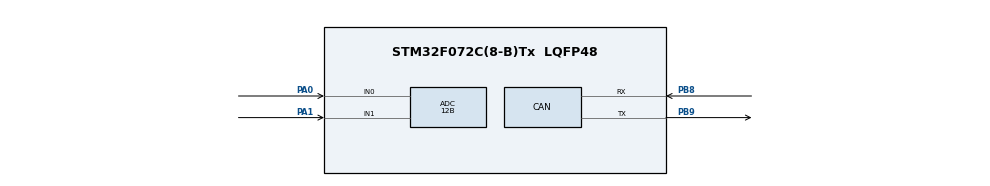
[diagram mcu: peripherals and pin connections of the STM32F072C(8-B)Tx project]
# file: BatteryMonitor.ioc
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ADC.ClockPrescaler=ADC_CLOCK_SYNC_PCLK_DIV2
ADC.ContinuousConvMode=DISABLE
ADC.DMAContinuousRequests=DISABLE
ADC.DataAlign=ADC_DATAALIGN_RIGHT
ADC.DiscontinuousConvMode=ENABLE
ADC.EOCSelection=ADC_EOC_SINGLE_CONV
ADC.EnableAnalogWatchDog=false
ADC.ExternalTrigConv=ADC_SOFTWARE_START
ADC.ExternalTrigConvEdge=ADC_EXTERNALTRIGCONVEDGE_NONE
ADC.LowPowerAutoPowerOff=DISABLE
ADC.LowPowerAutoWait=DISABLE
ADC.Overrun=ADC_OVR_DATA_PRESERVED
ADC.Resolution=ADC_RESOLUTION_12B
ADC.SamplingTime=ADC_SAMPLETIME_7CYCLES_5
ADC.ScanConvMode=ADC_SCAN_DIRECTION_FORWARD
CAN.CalculateTimeQuantum=2000.0
Mcu.Family=STM32F0
Mcu.Name=STM32F072C(8-B)Tx
Mcu.Package=LQFP48
NVIC.TIM2_IRQn=true\:0\:0\:true\:false\:true\:true
PA0.Mode=IN0
PA0.Signal=ADC_IN0
PA1.Mode=IN1
PA1.Signal=ADC_IN1
PB8.Mode=Master
PB8.Signal=CAN_RX
PB9.Mode=Master
PB9.Signal=CAN_TX
ProjectManager.HeapSize=0x200
ProjectManager.StackSize=0x400
ProjectManager.TargetToolchain=TrueSTUDIO
TIM2.AutoReloadPreload=TIM_AUTORELOAD_PRELOAD_DISABLE
TIM2.ClockDivision=TIM_CLOCKDIVISION_DIV1
TIM2.Period=65536
TIM2.Prescaler=128
TIM2.TIM_MasterOutputTrigger=TIM_TRGO_UPDATE
VP_TIM2_VS_ClockSourceINT.Mode=Internal
VP_TIM2_VS_ClockSourceITR.Mode=TriggerSource_ITR0
board=BatteryMonitor

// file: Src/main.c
/**
 ******************************************************************************
 * @file           : main.c
 * @brief          : Main program body
 ******************************************************************************
 ** This notice applies to any and all portions of this file
 * that are not between comment pairs USER CODE BEGIN and
 * USER CODE END. Other portions of this file, whether
 * inserted by the user or by software development tools
 * are owned by their respective copyright owners.
 *
 * COPYRIGHT(c) 2018 STMicroelectronics
 *
 * Redistribution and use in source and binary forms, with or without modification,
 * are permitted provided that the following conditions are met:
 *   1. Redistributions of source code must retain the above copyright notice,
 *      this list of conditions and the following disclaimer.
 *   2. Redistributions in binary form must reproduce the above copyright notice,
 *      this list of conditions and the following disclaimer in the documentation
 *      and/or other materials provided with the distribution.
 *   3. Neither the name of STMicroelectronics nor the names of its contributors
 *      may be used to endorse or promote products derived from this software
 *      without specific prior written permission.
 *
 * THIS SOFTWARE IS PROVIDED BY THE COPYRIGHT HOLDERS AND CONTRIBUTORS "AS IS"
 * AND ANY EXPRESS OR IMPLIED WARRANTIES, INCLUDING, BUT NOT LIMITED TO, THE
 * IMPLIED WARRANTIES OF MERCHANTABILITY AND FITNESS FOR A PARTICULAR PURPOSE ARE
 * DISCLAIMED. IN NO EVENT SHALL THE COPYRIGHT HOLDER OR CONTRIBUTORS BE LIABLE
 * FOR ANY DIRECT, INDIRECT, INCIDENTAL, SPECIAL, EXEMPLARY, OR CONSEQUENTIAL
 * DAMAGES (INCLUDING, BUT NOT LIMITED TO, PROCUREMENT OF SUBSTITUTE GOODS OR
 * SERVICES; LOSS OF USE, DATA, OR PROFITS; OR BUSINESS INTERRUPTION) HOWEVER
 * CAUSED AND ON ANY THEORY OF LIABILITY, WHETHER IN CONTRACT, STRICT LIABILITY,
 * OR TORT (INCLUDING NEGLIGENCE OR OTHERWISE) ARISING IN ANY WAY OUT OF THE USE
 * OF THIS SOFTWARE, EVEN IF ADVISED OF THE POSSIBILITY OF SUCH DAMAGE.
 *
 ******************************************************************************
 */
#include "main.h"
#include "stm32f0xx_hal.h"
#include <math.h>

ADC_HandleTypeDef hadc;

CAN_HandleTypeDef hcan;

TIM_HandleTypeDef htim2;

/* USER CODE BEGIN PV */
/* Private variables ---------------------------------------------------------*/
#define CAN_MOTHERBOARD_ID 0x00
#define CAN_TX_ID 0x09
#define FiltIDHigh 0xFFFF
#define FiltIDLow 0xFFFF
#define FiltMaskIdHigh 0x0000 //specifying which bits of the identifier
#define FiltMaskIdLow 0xFFFF  //are handled as �must match� (1) or as �don�t care� (0).
#define RESISTOR1 698000.0f
#define RESISTOR2 100000.0f
#define RESISTOR2_V2 063400.0f
#define AdcMax 4095.0f
#define Vref 3.3f
#define Vref_V2 2.0f
#define DEBUG 1

battery_t BatteryMonitor;
int TimerIntFlag = 0;
CanTxMsgTypeDef TxMessage;
CanRxMsgTypeDef RxMessage;
CAN_FilterConfTypeDef rxFilter;
char *CanReception;

/* USER CODE END PV */

void SystemClock_Config(void);
static void MX_GPIO_Init(void);
static void MX_ADC_Init(void);
static void MX_TIM2_Init(void);
static void MX_CAN_Init(void);

/* USER CODE BEGIN PFP */
/* Private function prototypes -----------------------------------------------*/
void GetVoltageCurrent(void);
void InitBattery(void);

/* USER CODE END PFP */

int main(void) {

	/* MCU Configuration----------------------------------------------------------*/

	/* Reset of all peripherals, Initializes the Flash interface and the Systick. */

	HAL_Init();

	/* Configure the system clock */
	SystemClock_Config();

	/* Initialize all configured peripherals */
	MX_GPIO_Init();
	MX_ADC_Init();
	MX_TIM2_Init();
	MX_CAN_Init();
	/* USER CODE BEGIN 2 */
	InitBattery();

	/* USER CODE END 2 */

	/* Infinite loop */
	while (1) {
		/* USER CODE BEGIN 3 */
		if (TimerIntFlag == 1) {
			TimerIntFlag = 0;
			BatteryMonitor.GetReadings();
			for (int i = 0; i < 4; i++) {
				hcan.pTxMsg->Data[i] = BatteryMonitor.Current.CanData[i];
				hcan.pTxMsg->Data[i + 4] = BatteryMonitor.Voltage.CanData[i];
			}
			HAL_CAN_Transmit(&hcan, 30);
		}
	}
	/* USER CODE END 3 */

}

void SystemClock_Config(void) {

	RCC_OscInitTypeDef RCC_OscInitStruct;
	RCC_ClkInitTypeDef RCC_ClkInitStruct;

	/**Initializes the CPU, AHB and APB busses clocks
	 */
	RCC_OscInitStruct.OscillatorType = RCC_OSCILLATORTYPE_HSI;
	RCC_OscInitStruct.HSIState = RCC_HSI_ON;
	RCC_OscInitStruct.HSICalibrationValue = 16;
	RCC_OscInitStruct.PLL.PLLState = RCC_PLL_NONE;
	if (HAL_RCC_OscConfig(&RCC_OscInitStruct) != HAL_OK) {
		_Error_Handler(__FILE__, __LINE__);
	}

	/**Initializes the CPU, AHB and APB busses clocks
	 */
	RCC_ClkInitStruct.ClockType = RCC_CLOCKTYPE_HCLK | RCC_CLOCKTYPE_SYSCLK
			| RCC_CLOCKTYPE_PCLK1;
	RCC_ClkInitStruct.SYSCLKSource = RCC_SYSCLKSOURCE_HSI;
	RCC_ClkInitStruct.AHBCLKDivider = RCC_SYSCLK_DIV1;
	RCC_ClkInitStruct.APB1CLKDivider = RCC_HCLK_DIV1;

	if (HAL_RCC_ClockConfig(&RCC_ClkInitStruct, FLASH_LATENCY_0) != HAL_OK) {
		_Error_Handler(__FILE__, __LINE__);
	}

	/**Configure the Systick interrupt time
	 */
	HAL_SYSTICK_Config(HAL_RCC_GetHCLKFreq() / 1000);

	/**Configure the Systick
	 */
	HAL_SYSTICK_CLKSourceConfig(SYSTICK_CLKSOURCE_HCLK);

	/* SysTick_IRQn interrupt configuration */
	HAL_NVIC_SetPriority(SysTick_IRQn, 0, 0);
}

/* ADC init function */
static void MX_ADC_Init(void) {

	ADC_ChannelConfTypeDef sConfig;

	/**Configure the global features of the ADC (Clock, Resolution, Data Alignment and number of conversion)
	 */
	hadc.Instance = ADC1;
	hadc.Init.ClockPrescaler = ADC_CLOCK_SYNC_PCLK_DIV2;
	hadc.Init.Resolution = ADC_RESOLUTION_12B;
	hadc.Init.DataAlign = ADC_DATAALIGN_RIGHT;
	hadc.Init.ScanConvMode = ADC_SCAN_DIRECTION_FORWARD;
	hadc.Init.EOCSelection = ADC_EOC_SINGLE_CONV;
	hadc.Init.LowPowerAutoWait = DISABLE;
	hadc.Init.LowPowerAutoPowerOff = DISABLE;
	hadc.Init.ContinuousConvMode = DISABLE;
	hadc.Init.DiscontinuousConvMode = ENABLE;
	hadc.Init.ExternalTrigConv = ADC_SOFTWARE_START;
	hadc.Init.ExternalTrigConvEdge = ADC_EXTERNALTRIGCONVEDGE_NONE;
	hadc.Init.DMAContinuousRequests = DISABLE;
	hadc.Init.Overrun = ADC_OVR_DATA_PRESERVED;
	if (HAL_ADC_Init(&hadc) != HAL_OK) {
		_Error_Handler(__FILE__, __LINE__);
	}

	/**Configure for the selected ADC regular channel to be converted.
	 */
	sConfig.Channel = ADC_CHANNEL_0;
	sConfig.Rank = ADC_RANK_CHANNEL_NUMBER;
	sConfig.SamplingTime = ADC_SAMPLETIME_7CYCLES_5;
	if (HAL_ADC_ConfigChannel(&hadc, &sConfig) != HAL_OK) {
		_Error_Handler(__FILE__, __LINE__);
	}

	/**Configure for the selected ADC regular channel to be converted.
	 */
	sConfig.Channel = ADC_CHANNEL_1;
	if (HAL_ADC_ConfigChannel(&hadc, &sConfig) != HAL_OK) {
		_Error_Handler(__FILE__, __LINE__);
	}

}

/* CAN init function */
static void MX_CAN_Init(void) {

	hcan.Instance = CAN;
	hcan.Init.Prescaler = 10;
	hcan.Init.Mode = CAN_MODE_NORMAL;
	hcan.Init.SJW = CAN_SJW_1TQ;
	hcan.Init.BS1 = CAN_BS1_6TQ;
	hcan.Init.BS2 = CAN_BS2_1TQ;
	hcan.Init.TTCM = DISABLE;
	hcan.Init.ABOM = DISABLE;
	hcan.Init.AWUM = DISABLE;
	hcan.Init.NART = DISABLE;
	hcan.Init.RFLM = DISABLE;
	hcan.Init.TXFP = DISABLE;
	if (HAL_CAN_Init(&hcan) != HAL_OK) {
		_Error_Handler(__FILE__, __LINE__);
	}

}

/* TIM2 init function */
static void MX_TIM2_Init(void) {

	TIM_ClockConfigTypeDef sClockSourceConfig;
	TIM_SlaveConfigTypeDef sSlaveConfig;
	TIM_MasterConfigTypeDef sMasterConfig;

	htim2.Instance = TIM2;
	htim2.Init.Prescaler = 128;
	htim2.Init.CounterMode = TIM_COUNTERMODE_UP;
	htim2.Init.Period = 65536;
	htim2.Init.ClockDivision = TIM_CLOCKDIVISION_DIV1;
	htim2.Init.AutoReloadPreload = TIM_AUTORELOAD_PRELOAD_DISABLE;
	if (HAL_TIM_Base_Init(&htim2) != HAL_OK) {
		_Error_Handler(__FILE__, __LINE__);
	}

	sClockSourceConfig.ClockSource = TIM_CLOCKSOURCE_INTERNAL;
	if (HAL_TIM_ConfigClockSource(&htim2, &sClockSourceConfig) != HAL_OK) {
		_Error_Handler(__FILE__, __LINE__);
	}

	sSlaveConfig.SlaveMode = TIM_SLAVEMODE_DISABLE;
	sSlaveConfig.InputTrigger = TIM_TS_ITR0;
	if (HAL_TIM_SlaveConfigSynchronization(&htim2, &sSlaveConfig) != HAL_OK) {
		_Error_Handler(__FILE__, __LINE__);
	}

	sMasterConfig.MasterOutputTrigger = TIM_TRGO_UPDATE;
	sMasterConfig.MasterSlaveMode = TIM_MASTERSLAVEMODE_DISABLE;
	if (HAL_TIMEx_MasterConfigSynchronization(&htim2, &sMasterConfig)
			!= HAL_OK) {
		_Error_Handler(__FILE__, __LINE__);
	}

}

/** Pinout Configuration
 */
static void MX_GPIO_Init(void) {

	/* GPIO Ports Clock Enable */
	__HAL_RCC_GPIOA_CLK_ENABLE()
	;
	__HAL_RCC_GPIOB_CLK_ENABLE()
	;

}

/* USER CODE BEGIN 4 */

void CanSetup() {
	if (DEBUG) {
		hcan.Instance->MCR = 0x60;
	}

	hcan.pTxMsg = &TxMessage;
	hcan.pRxMsg = &RxMessage;

	/*##-2- Configure the CAN Filter ###########################################*/
	rxFilter.FilterNumber = 0;
	rxFilter.FilterMode = CAN_FILTERMODE_IDMASK;
	rxFilter.FilterScale = CAN_FILTERSCALE_32BIT;
	rxFilter.FilterIdHigh = 0x0000;
	rxFilter.FilterIdLow = CAN_MOTHERBOARD_ID;
	rxFilter.FilterMaskIdHigh = 0x0000;
	rxFilter.FilterMaskIdLow = 0x0000;
	rxFilter.FilterFIFOAssignment = CAN_FILTER_FIFO0;
	rxFilter.FilterActivation = DISABLE;
	rxFilter.BankNumber = 14;

	if (HAL_CAN_ConfigFilter(&hcan, &rxFilter) != HAL_OK) {
		/* Filter configuration Error */
		Error_Handler();
	}

	hcan.pTxMsg->StdId = CAN_TX_ID; /*Specifies the standard identifier. This parameter must be a number between Min_Data
	 = 0 and Max_Data = 0x7FF.*/
	hcan.pTxMsg->ExtId = 0x00; /*Specifies the extended identifier. This parameter must be a number between
	 Min_Data = 0 and Max_Data = 0x1FFFFFFF.*/
	hcan.pTxMsg->RTR = CAN_RTR_DATA; /*Specifies the type of identifier for the message that will be transmitted. This parameter
	 can be a value of CAN_identifier_type*/
	hcan.pTxMsg->IDE = CAN_ID_STD; /*Specifies the type of frame for the received message. This parameter can be a value
	 of CAN_remote_transmission_request*/
	hcan.pTxMsg->DLC = 8; /*Specifies the length of the frame that will be transmitted. This parameter must be a number between
	 Min_Data = 0 and Max_Data = 8. */
	hcan.pTxMsg->Data[0] = 0; /*Contains the data to be transmitted. This parameter must be a number between
	 Min_Data = 0 and Max_Data = 0xFF.*/
}

void InitBattery() {
	CanSetup();
	HAL_ADCEx_Calibration_Start(&hadc);
	BatteryMonitor.GetReadings = &GetVoltageCurrent;
	HAL_TIM_Base_Start_IT(&htim2);
}

void GetVoltageCurrent() {
	BatteryMonitor.Current.Diagnostic = 0;
	BatteryMonitor.Voltage.Diagnostic = 0;
	int LpfTaps = 5000;

	for (int i = 0; i < LpfTaps; i++) {
		HAL_ADC_Start(&hadc);
		while (HAL_ADC_PollForConversion(&hadc, 10) != HAL_OK)
			;
		BatteryMonitor.Current.Diagnostic += (float) (HAL_ADC_GetValue(&hadc));

		HAL_ADC_Start(&hadc);
		while (HAL_ADC_PollForConversion(&hadc, 10) != HAL_OK)
			;
		BatteryMonitor.Voltage.Diagnostic += (float) (HAL_ADC_GetValue(&hadc));
		asm(" nop");
	}
	HAL_ADC_Stop(&hadc);

	BatteryMonitor.Current.Diagnostic /= (float) LpfTaps;
	asm(" nop");
	//	BatteryMonitor.Current.Diagnostic = ((BatteryMonitor.Current.Diagnostic) / AdcMax) * Vref;
//BatteryMonitor.Current.Diagnostic = 28.21f*BatteryMonitor.Current.Diagnostic-0.2195f;

	BatteryMonitor.Voltage.Diagnostic /= (float) LpfTaps;
	BatteryMonitor.Voltage.Diagnostic = ((BatteryMonitor.Voltage.Diagnostic) / AdcMax) * Vref; //Vres_ref !=
	BatteryMonitor.Voltage.Diagnostic = ((RESISTOR1 + RESISTOR2_V2) / (RESISTOR2_V2)) * (BatteryMonitor.Voltage.Diagnostic);
//	if (BatteryMonitor.Current.Diagnostic < 0.019f)
//	{
//		BatteryMonitor.Current.Diagnostic = 0;//BatteryMonitor.Current.Diagnostic*15970.0f-315.7f;
//	}
//	else
//	{
//		BatteryMonitor.Current.Diagnostic = BatteryMonitor.Current.Diagnostic*209.2f+0.27762;
//	}
	BatteryMonitor.Current.Diagnostic = 0.1505f*(BatteryMonitor.Current.Diagnostic)- 0.01677f + 0.10f;
	asm(" nop");
}

/* USER CODE END 4 */

void _Error_Handler(char *file, int line) {
	while (1) {
	}
}

/************************ (C) COPYRIGHT STMicroelectronics *****END OF FILE****/
